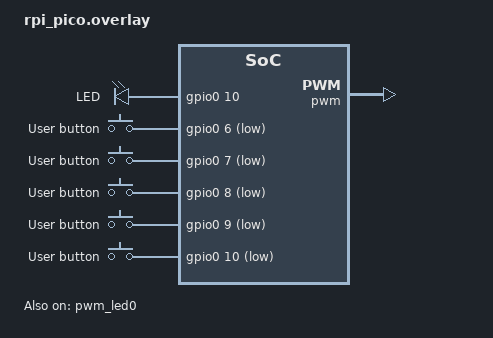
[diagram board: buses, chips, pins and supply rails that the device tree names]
#include "rpi_pico-pinctrl.dtsi"

/ {
pwm_leds {
		compatible = "pwm-leds";
		status = "disabled";
		pwm_led1: pwm_led_1 {
			pwms = <&pwm 7 PWM_MSEC(20) PWM_POLARITY_NORMAL>;
			label = "PWM_LED";
		};
	};

	leds {
		compatible = "gpio-leds";
		led2: led_2 {
			gpios = <&gpio0 10 GPIO_ACTIVE_HIGH>;
			label = "LED";
		};
	};

	buttons {
             compatible = "gpio-keys";
             button0: button_0 {
                     gpios = < &gpio0 6 (GPIO_PULL_UP | GPIO_ACTIVE_LOW)>;
                     label = "User button";
             };
			  button1: button_1 {
                     gpios = < &gpio0 7 (GPIO_PULL_UP | GPIO_ACTIVE_LOW)>;
                     label = "User button";
             };
			  button2: button_2 {
                     gpios = < &gpio0 8 (GPIO_PULL_UP | GPIO_ACTIVE_LOW)>;
                     label = "User button";
             };
			  button3: button_3 {
                     gpios = < &gpio0 9 (GPIO_PULL_UP | GPIO_ACTIVE_LOW)>;
                     label = "User button";
             };
			  button4: button_4 {
                     gpios = < &gpio0 10 (GPIO_PULL_UP | GPIO_ACTIVE_LOW)>;
                     label = "User button";
             };
             
     };

	aliases {
		pwm-led1 = &pwm_led1;
		sw0 = &button0;
		sw1 = &button1;
		sw2 = &button2;
		sw3 = &button3;
		sw4 = &button4;
		led2 = &led2;
	};
};


&pwm_led0 {
	status = "okay";
};

&pwm {
	status = "okay";

	pinctrl-0 = <&pwm_chn_used>;

	// for pwm chanel 3 A and B

	divider-frac-3 = <15>;
	divider-int-3 = <255>;
	
	// for pwm chanel 4 A and B
	
	divider-frac-4 = <15>;
	divider-int-4 = <255>;
};
